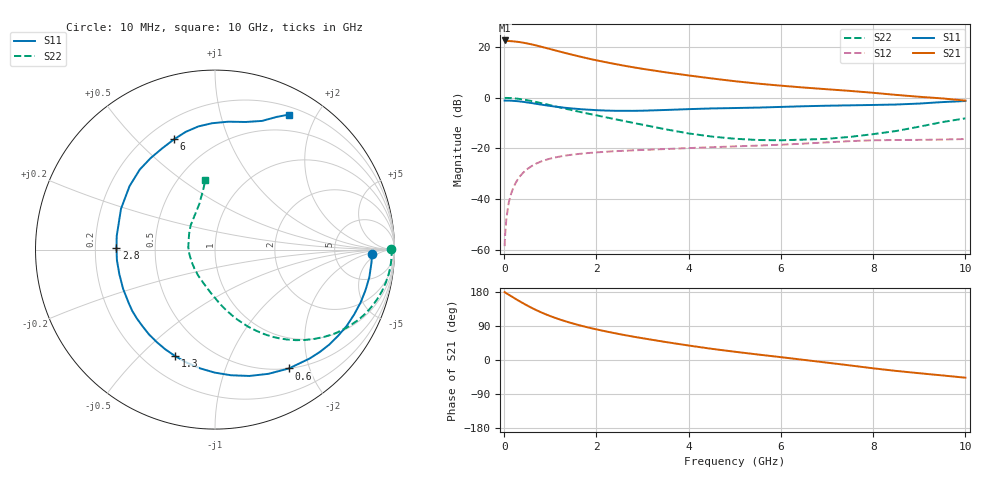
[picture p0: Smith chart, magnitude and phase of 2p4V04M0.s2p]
! (c) 2009  Infineon Technologies AG, Munich
! Infineon Technologies  Discrete & RF Semiconductors
! BFP420
! VCE =  4.0 V,  IC =  4.0 mA
! Common Emitter S-Parameters:  Nov 2009
# GHz  S  MA  R  50
!  f  S11  S21  S12  S22
! GHz  MAG  ANG  MAG  ANG  MAG  ANG  MAG  ANG
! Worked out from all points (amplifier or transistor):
!   46 points, 10 MHz to 10 GHz, reference 50 ohm
!   highest |S21| = 22.5 dB at 10 MHz (marker M1)
!   |S21| within 3 dB of that: start of sweep to 917.4 MHz
!   unconditionally stable (mu >= 1): 3.263 GHz to end of sweep
!   at 300 MHz: K = 0.11, MSG = 27.0 dB, |S12| = -32.0 dB
!   at 1.7 GHz: K = 0.51, MSG = 18.9 dB, |S12| = -22.0 dB
!   at 10 GHz: K = 1.14, MAG = 5.3 dB, |S12| = -16.3 dB
!   lowest NFmin = 0.61 dB at 900 MHz
!   S11 on the Smith chart (normalised r, x): 10 MHz: 14, -3; 600 MHz: 0.50, -1.69; 1.3 GHz: 0.32, -0.64; 2.8 GHz: 0.29, +0.01; 6 GHz: 0.30, +0.65; 10 GHz: 0.29, +1.65
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0.01  0.8757 -1.6  13.28 179.1  0.0012 36.0  0.9826 0.3
0.02  0.8747 -2.1  12.91 178.4  0.0019 59.1  0.9848 -1.0
0.1  0.8735 -10.2  12.95 172.3  0.0086 79.2  0.9822 -5.5
0.2  0.8631 -20.0  12.77 164.9  0.017 76.6  0.969 -11.0
0.3  0.848 -30.1  12.46 157.5  0.0251 72.6  0.9484 -16.3
0.45  0.8162 -44.4  11.84 147.1  0.036 65.9  0.9055 -23.8
0.6  0.7798 -58.1  11.1 137.4  0.0453 59.5  0.8539 -30.6
0.7  0.7535 -66.7  10.57 131.4  0.0507 55.7  0.8169 -34.8
0.9  0.7059 -82.7  9.493 120.7  0.0595 49.0  0.744 -42.0
1.1  0.6667 -97.2  8.506 111.5  0.0664 43.7  0.6757 -48.3
1.3  0.6336 -110.5  7.633 103.3  0.0718 39.1  0.6138 -53.8
1.5  0.6086 -122.4  6.88 96.1  0.076 35.4  0.5584 -58.6
1.7  0.5877 -133.4  6.232 89.5  0.0795 32.2  0.51 -62.8
2.2  0.5566 -157.0  4.971 75.6  0.0861 26.2  0.411 -72.1
2.8  0.5492 178.8  3.94 61.6  0.0918 21.0  0.3182 -82.7
3.5  0.571 156.5  3.142 47.5  0.0974 16.5  0.2381 -96.5
4.5  0.6121 133.2  2.381 29.5  0.1058 11.4  0.1714 -123.7
5.5  0.6363 117.5  1.885 14.5  0.1138 7.1  0.1466 -153.3
6  0.6558 110.3  1.715 7.5  0.1185 5.3  0.145 -169.8
7  0.6925 97.7  1.459 -7.0  0.1318 0.3  0.1547 161.8
8.5  0.7312 76.5  1.13 -28.8  0.1466 -12.0  0.2206 121.1
10  0.8562 61.4  0.873 -46.7  0.1533 -20.2  0.391 97.8
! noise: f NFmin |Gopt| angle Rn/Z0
0.9  0.61  0.27  32  0.16
1.8  1.03  0.14  83  0.13
2.4  1.11  0.17  110  0.14
3  1.23  0.2  153  0.11
4  1.42  0.31  -151  0.11
5  1.77  0.38  -123  0.23
6  2.35  0.47  -104  0.33
